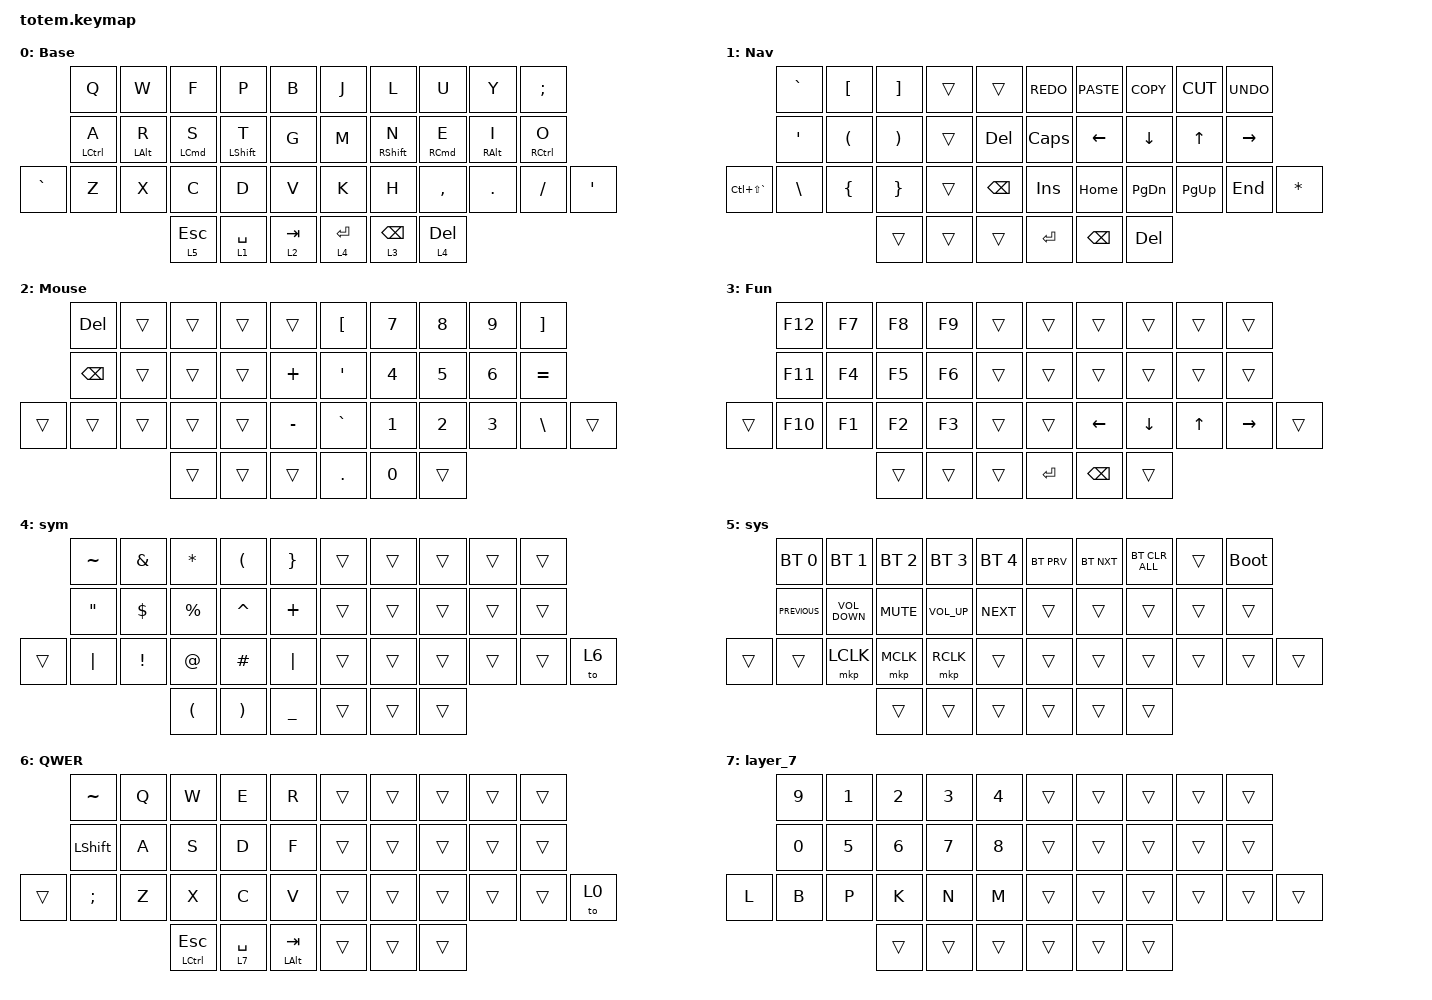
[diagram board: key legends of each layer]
//
//                                                        ▀▀▀▀▀     ▀▀▀▀▀          ▀▀█▀▀
//                                                        ▄▀▀▀▄  ▄  ▄▀▀▀▄  ▄  ▄▀▀▀▄  █  ▄▀▀▀▄
//                                                        █   █  █  █   █  █  █   █  █  █   █
//                                                         ▀▀▀   █   ▀▀▀   █   ▀▀▀   ▀   ▀▀▀
//                                                               █      ▄▄▄█▄▄▄    █   █
//                                                               ▀      █  █  █     █▄█
//                                                             ▀▀▀▀▀    █  █  █      ▀
//                                                                      ▀  ▀  ▀
//
// ▄▄▄▄▄▄▄▄▄▄▄▄▄▄▄▄▄▄▄▄▄▄▄▄▄▄▄▄▄▄▄▄▄▄▄▄▄▄▄▄▄▄▄▄▄▄▄▄▄▄▄▄▄▄▄▄▄▄▄▄▄▄▄▄▄▄▄▄▄▄▄▄▄▄▄▄▄▄▄▄▄▄▄▄▄▄▄▄▄▄▄▄▄▄▄▄▄▄▄▄▄▄▄▄▄▄▄▄▄▄▄▄▄▄▄▄▄▄▄▄▄▄▄▄▄▄▄▄▄▄▄▄▄▄▄▄▄▄▄▄▄▄▄▄▄▄▄▄▄

#include <dt-bindings/zmk/mouse.h>
#include <behaviors.dtsi>
#include <dt-bindings/zmk/bt.h>
#include <dt-bindings/zmk/keys.h>
#include <dt-bindings/zmk/pointing.h>

#define BASE 0
#define NAV  1
#define MOUSE  2
#define MEDIA  3
#define NUM 4
#define SYM 5

&mt {
    quick-tap-ms = <100>;
    global-quick-tap;
    flavor = "tap-preferred";
    tapping-term-ms = <170>;
};

/ {
    combos {
        compatible = "zmk,combos";

        Alt_Sysreq_R {
            bindings = <&Alt_Sysreq_R>;
            key-positions = <32 37 11>;
        };

        backspace {
            bindings = <&kp BACKSPACE>;
            key-positions = <0 1>;
        };

        enter {
            bindings = <&kp ENTER>;
            key-positions = <2 3>;
        };

        Alt_Sysreq_E {
            bindings = <&Alt_Sysreq_E>;
            key-positions = <32 37 17>;
        };

        Alt_Sysreq_I {
            bindings = <&Alt_Sysreq_I>;
            key-positions = <32 37 18>;
        };

        Alt_Sysreq_S {
            bindings = <&Alt_Sysreq_S>;
            key-positions = <32 37 12>;
        };

        Alt_Sysreq_U {
            bindings = <&Alt_Sysreq_U>;
            key-positions = <32 37 7>;
        };

        Alt_Sysreq_B {
            bindings = <&Alt_Sysreq_B>;
            key-positions = <32 37 4>;
        };

        Alt_Sysreq_O {
            bindings = <&Alt_Sysreq_O>;
            key-positions = <32 37 19>;
        };
    };

    macros {
        gif: gif {
            label = "giphy";
            compatible = "zmk,behavior-macro";
            #binding-cells = <0>;
            bindings =
                <&macro_press>,
                <&kp LSHFT>,
                <&macro_tap>,
                <&kp N2>,
                <&macro_release>,
                <&kp LSHFT>,
                <&macro_tap>,
                <&kp G &kp I &kp F>;
        };

        Alt_Sysreq_R: Alt_Sysreq_R {
            compatible = "zmk,behavior-macro";
            #binding-cells = <0>;
            bindings =
                <&macro_press>,
                <&kp RIGHT_ALT &kp SYSREQ &kp R>,
                <&macro_release>;

            label = "ALT_SYSREQ_R";
        };

        Alt_Sysreq_E: Alt_Sysreq_E {
            compatible = "zmk,behavior-macro";
            #binding-cells = <0>;
            bindings =
                <&macro_press>,
                <&kp RIGHT_ALT &kp SYSREQ &kp E>,
                <&macro_release>;

            label = "ALT_SYSREQ_E";
        };

        Alt_Sysreq_I: Alt_Sysreq_I {
            compatible = "zmk,behavior-macro";
            #binding-cells = <0>;
            bindings =
                <&macro_press>,
                <&kp RIGHT_ALT &kp SYSREQ &kp I>,
                <&macro_release>;

            label = "ALT_SYSREQ_I";
        };

        Alt_Sysreq_S: Alt_Sysreq_S {
            compatible = "zmk,behavior-macro";
            #binding-cells = <0>;
            bindings =
                <&macro_press>,
                <&kp RIGHT_ALT &kp SYSREQ &kp S>,
                <&macro_release>;

            label = "ALT_SYSREQ_S";
        };

        Alt_Sysreq_U: Alt_Sysreq_U {
            compatible = "zmk,behavior-macro";
            #binding-cells = <0>;
            bindings =
                <&macro_press>,
                <&kp RIGHT_ALT &kp SYSREQ &kp U>,
                <&macro_release>;

            label = "ALT_SYSREQ_U";
        };

        Alt_Sysreq_B: Alt_Sysreq_B {
            compatible = "zmk,behavior-macro";
            #binding-cells = <0>;
            bindings =
                <&macro_press>,
                <&kp RIGHT_ALT &kp SYSREQ &kp B>,
                <&macro_release>;

            label = "ALT_SYSREQ_B";
        };

        Alt_Sysreq_O: Alt_Sysreq_O {
            compatible = "zmk,behavior-macro";
            #binding-cells = <0>;
            bindings =
                <&macro_press>,
                <&kp RIGHT_ALT &kp SYSREQ &kp O>,
                <&macro_release>;

            label = "ALT_SYSREQ_O";
        };
    };

    keymap {
        compatible = "zmk,keymap";

        BASE {
            label = "Base";
            bindings = <
           &kp Q        &kp W       &kp F         &kp P        &kp B        &kp J        &kp L            &kp U       &kp Y       &kp SEMI
           &mt LCTRL A  &mt LALT R  &mt LCMD S    &mt LSHFT T  &kp G        &kp M        &mt RSHFT N      &mt RCMD E  &mt RALT I  &mt RCTRL O
&kp GRAVE  &kp Z        &kp X       &kp C         &kp D        &kp V        &kp K        &kp H            &kp COMMA   &kp DOT     &kp FSLH     &kp APOS
                                    &lt 5 ESCAPE  &lt 1 SPACE  &lt 2 TAB    &lt 4 ENTER  &lt 3 BACKSPACE  &lt 4 DEL
            >;
        };

        NAV {
            label = "Nav";
            bindings = <
                   &kp GRAVE      &kp LBKT  &kp RBKT  &trans  &trans           &kp K_REDO  &kp K_PASTE    &kp K_COPY     &kp K_CUT    &kp K_UNDO
                   &kp SQT        &kp LPAR  &kp RPAR  &trans  &kp DEL          &kp CAPS    &kp LEFT       &kp DOWN       &kp UP       &kp RIGHT
&kp LC(LS(GRAVE))  &kp BACKSLASH  &kp LBRC  &kp RBRC  &trans  &kp BACKSPACE    &kp INSERT  &kp HOME       &kp PAGE_DOWN  &kp PAGE_UP  &kp END     &kp ASTRK
                                            &trans    &trans  &trans           &kp ENTER   &kp BACKSPACE  &kp DELETE
            >;
        };

        Num {
            label = "Mouse";
            bindings = <
        &kp DELETE     &trans  &trans  &trans  &trans       &kp LBKT   &kp N7  &kp N8  &kp N9  &kp RBKT
        &kp BACKSPACE  &trans  &trans  &trans  &kp PLUS     &kp SQT    &kp N4  &kp N5  &kp N6  &kp EQUAL
&trans  &trans         &trans  &trans  &trans  &kp MINUS    &kp GRAVE  &kp N1  &kp N2  &kp N3  &kp BSLH   &trans
                               &trans  &trans  &trans       &kp DOT    &kp N0  &trans
            >;
        };

        FUN {
            label = "Fun";
            bindings = <
        &kp F12  &kp F7  &kp F8  &kp F9  &trans    &trans     &trans    &trans    &trans  &trans
        &kp F11  &kp F4  &kp F5  &kp F6  &trans    &trans     &trans    &trans    &trans  &trans
&trans  &kp F10  &kp F1  &kp F2  &kp F3  &trans    &trans     &kp LEFT  &kp DOWN  &kp UP  &kp RIGHT  &trans
                         &trans  &trans  &trans    &kp ENTER  &kp BSPC  &trans
            >;
        };

        Symbols {
            label = "sym";
            bindings = <
        &kp TILDE  &kp AMPS  &kp STAR   &kp LPAR   &kp RBRC     &trans  &trans  &trans  &trans  &trans
        &kp DQT    &kp DLLR  &kp PRCNT  &kp CARET  &kp PLUS     &trans  &trans  &trans  &trans  &trans
&trans  &kp PIPE   &kp EXCL  &kp AT     &kp POUND  &kp PIPE     &trans  &trans  &trans  &trans  &trans  &to 6
                             &kp LPAR   &kp RPAR   &kp UNDER    &trans  &trans  &trans
            >;
        };

        System {
            label = "sys";
            bindings = <
        &bt BT_SEL 0    &bt BT_SEL 1       &bt BT_SEL 2  &bt BT_SEL 3     &bt BT_SEL 4    &bt BT_PRV  &bt BT_NXT  &bt BT_CLR_ALL  &trans  &bootloader
        &kp C_PREVIOUS  &kp C_VOLUME_DOWN  &kp C_MUTE    &kp C_VOLUME_UP  &kp C_NEXT      &trans      &trans      &trans          &trans  &trans
&trans  &trans          &mkp LCLK          &mkp MCLK     &mkp RCLK        &trans          &trans      &trans      &trans          &trans  &trans       &trans
                                           &trans        &trans           &trans          &trans      &trans      &trans
            >;
        };

        Game {
            label = "QWER";
            bindings = <
        &kp TILDE      &kp Q  &kp W          &kp E        &kp R               &trans  &trans  &trans  &trans  &trans
        &kp LSHFT      &kp A  &kp S          &kp D        &kp F               &trans  &trans  &trans  &trans  &trans
&trans  &kp SEMICOLON  &kp Z  &kp X          &kp C        &kp V               &trans  &trans  &trans  &trans  &trans  &to 0
                              &mt LCTRL ESC  &lt 7 SPACE  &mt LEFT_ALT TAB    &trans  &trans  &trans
            >;
        };

        layer_7 {
            bindings = <
       &kp N9  &kp NUMBER_1  &kp NUMBER_2  &kp NUMBER_3  &kp NUMBER_4    &trans  &trans  &trans  &trans  &trans
       &kp N0  &kp N5        &kp NUMBER_6  &kp N7        &kp N8          &trans  &trans  &trans  &trans  &trans
&kp L  &kp B   &kp P         &kp K         &kp N         &kp M           &trans  &trans  &trans  &trans  &trans  &trans
                             &trans        &trans        &trans          &trans  &trans  &trans
            >;
        };
    };
};
